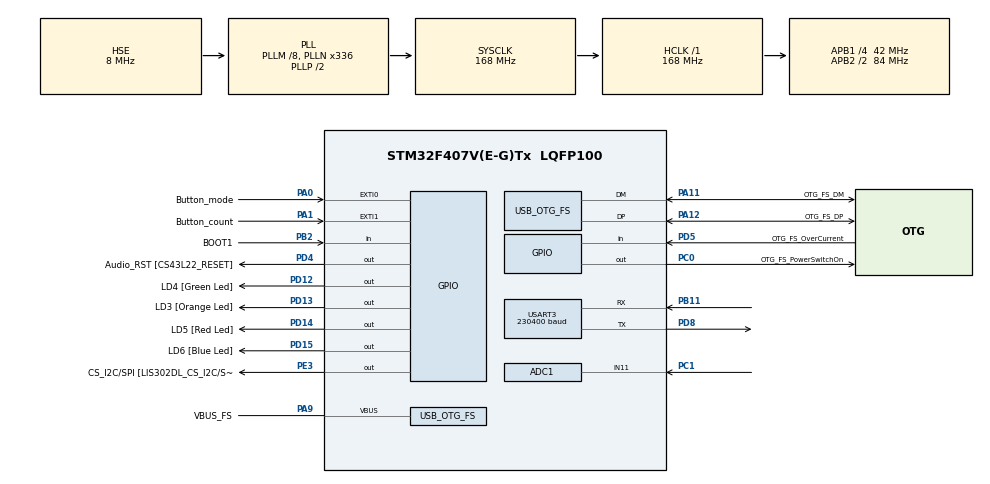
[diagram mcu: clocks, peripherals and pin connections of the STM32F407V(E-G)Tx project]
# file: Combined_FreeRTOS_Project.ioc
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ADC1.Channel-3\#ChannelRegularConversion=ADC_CHANNEL_11
ADC1.NbrOfConversionFlag=1
ADC1.Rank-3\#ChannelRegularConversion=1
ADC1.SamplingTime-3\#ChannelRegularConversion=ADC_SAMPLETIME_3CYCLES
ADC1.master=1
FREERTOS.Mutexes01=countMutex,Dynamic,NULL,Available;modeMutex,Dynamic,NULL,Available
FREERTOS.Queues01=UART_Queue,100,uint8_t,0,Dynamic,NULL,NULL
FREERTOS.Tasks01=defaultTask,24,128,StartDefaultTask,Default,NULL,Dynamic,NULL,NULL;ADC_Task,24,128,Task_4_ADC,Default,NULL,Dynamic,NULL,NULL;Task_5_Button,24,128,Task_5_Button_func,Default,NULL,Dynamic,NULL,NULL
FREERTOS.configUSE_NEWLIB_REENTRANT=1
Mcu.Family=STM32F4
Mcu.Name=STM32F407V(E-G)Tx
Mcu.Package=LQFP100
NVIC.EXTI0_IRQn=true\:5\:0\:true\:false\:true\:true\:true\:true\:true
NVIC.EXTI1_IRQn=true\:5\:0\:true\:false\:true\:true\:true\:true\:true
NVIC.OTG_FS_IRQn=true\:5\:0\:false\:false\:true\:true\:true\:true\:true
NVIC.PriorityGroup=NVIC_PRIORITYGROUP_4
NVIC.TIM1_UP_TIM10_IRQn=true\:15\:0\:false\:false\:true\:false\:false\:true\:true
NVIC.TimeBase=TIM1_UP_TIM10_IRQn
NVIC.TimeBaseIP=TIM1
NVIC.USART3_IRQn=true\:5\:0\:false\:false\:true\:true\:true\:true\:true
PA0-WKUP.GPIO_Label=Button_mode
PA0-WKUP.GPIO_ModeDefaultEXTI=GPIO_MODE_IT_RISING
PA0-WKUP.GPIO_PuPd=GPIO_PULLDOWN
PA0-WKUP.Signal=GPXTI0
PA1.GPIO_Label=Button_count
PA1.GPIO_PuPd=GPIO_PULLDOWN
PA1.Signal=GPXTI1
PA10.GPIO_Label=OTG_FS_ID
PA10.GPIO_Mode=GPIO_MODE_AF_PP
PA10.GPIO_PuPd=GPIO_NOPULL
PA10.GPIO_Speed=GPIO_SPEED_FREQ_LOW
PA10.Signal=USB_OTG_FS_ID
PA11.GPIO_Label=OTG_FS_DM
PA11.GPIO_Mode=GPIO_MODE_AF_PP
PA11.GPIO_PuPd=GPIO_NOPULL
PA11.GPIO_Speed=GPIO_SPEED_FREQ_LOW
PA11.Mode=Host_Only
PA11.Signal=USB_OTG_FS_DM
PA12.GPIO_Label=OTG_FS_DP
PA12.GPIO_Mode=GPIO_MODE_AF_PP
PA12.GPIO_PuPd=GPIO_NOPULL
PA12.GPIO_Speed=GPIO_SPEED_FREQ_LOW
PA12.Mode=Host_Only
PA12.Signal=USB_OTG_FS_DP
PA13.GPIO_Label=SWDIO
PA13.Mode=Serial_Wire
PA13.Signal=SYS_JTMS-SWDIO
PA14.GPIO_Label=SWCLK
PA14.Mode=Serial_Wire
PA14.Signal=SYS_JTCK-SWCLK
PA4.GPIO_Label=I2S3_WS [CS43L22_LRCK]
PA4.GPIO_Mode=GPIO_MODE_AF_PP
PA4.GPIO_PuPd=GPIO_NOPULL
PA4.GPIO_Speed=GPIO_SPEED_FREQ_LOW
PA4.Signal=I2S3_WS
PA5.GPIO_Label=SPI1_SCK [LIS302DL_SCL/SPC]
PA5.GPIO_Mode=GPIO_MODE_AF_PP
PA5.GPIO_PuPd=GPIO_NOPULL
PA5.GPIO_Speed=GPIO_SPEED_FREQ_LOW
PA5.Signal=SPI1_SCK
PA6.GPIO_Label=SPI1_MISO [LIS302DL_SDO]
PA6.GPIO_Mode=GPIO_MODE_AF_PP
PA6.GPIO_PuPd=GPIO_NOPULL
PA6.GPIO_Speed=GPIO_SPEED_FREQ_LOW
PA6.Signal=SPI1_MISO
PA7.GPIO_Label=SPI1_MOSI [LIS302DL_SDA/SDI/SDO]
PA7.GPIO_Mode=GPIO_MODE_AF_PP
PA7.GPIO_PuPd=GPIO_NOPULL
PA7.GPIO_Speed=GPIO_SPEED_FREQ_LOW
PA7.Signal=SPI1_MOSI
PA9.GPIO_Label=VBUS_FS
PA9.GPIO_Mode=GPIO_MODE_INPUT
PA9.GPIO_PuPd=GPIO_NOPULL
PA9.Mode=Activate_VBUS
PA9.Signal=USB_OTG_FS_VBUS
PB10.GPIO_Label=CLK_IN [MP45DT02_CLK]
PB10.GPIO_Mode=GPIO_MODE_AF_PP
PB10.GPIO_PuPd=GPIO_NOPULL
PB10.GPIO_Speed=GPIO_SPEED_FREQ_LOW
PB10.Signal=I2S2_CK
PB11.Mode=Asynchronous
PB11.Signal=USART3_RX
PB2.GPIO_Label=BOOT1
PB2.GPIO_Mode=GPIO_MODE_INPUT
PB2.GPIO_PuPd=GPIO_NOPULL
PB2.Signal=GPIO_Input
PB3.GPIO_Label=SWO
PB3.Signal=SYS_JTDO-SWO
PB6.GPIO_Label=Audio_SCL [CS43L22_SCL]
PB6.GPIO_Mode=GPIO_MODE_AF_OD
PB6.GPIO_Pu=GPIO_PULLUP
PB6.GPIO_PuPd=GPIO_NOPULL
PB6.GPIO_Speed=GPIO_SPEED_FREQ_LOW
PB6.Signal=I2C1_SCL
PB9.GPIO_Label=Audio_SDA [CS43L22_SDA]
PB9.GPIO_Mode=GPIO_MODE_AF_OD
PB9.GPIO_Pu=GPIO_PULLUP
PB9.GPIO_PuPd=GPIO_NOPULL
PB9.GPIO_Speed=GPIO_SPEED_FREQ_LOW
PB9.Signal=I2C1_SDA
PC0.GPIO_Label=OTG_FS_PowerSwitchOn
PC0.GPIO_PuPd=GPIO_NOPULL
PC0.GPIO_Speed=GPIO_SPEED_FREQ_LOW
PC0.PinState=GPIO_PIN_SET
PC0.Signal=GPIO_Output
PC1.Signal=ADCx_IN11
PC10.GPIO_Label=I2S3_SCK [CS43L22_SCLK]
PC10.GPIO_Mode=GPIO_MODE_AF_PP
PC10.GPIO_PuPd=GPIO_NOPULL
PC10.GPIO_Speed=GPIO_SPEED_FREQ_LOW
PC10.Signal=I2S3_CK
PC12.GPIO_Label=I2S3_SD [CS43L22_SDIN]
PC12.GPIO_Mode=GPIO_MODE_AF_PP
PC12.GPIO_PuPd=GPIO_NOPULL
PC12.GPIO_Speed=GPIO_SPEED_FREQ_LOW
PC12.Signal=I2S3_SD
PC14-OSC32_IN.GPIO_Label=PC14-OSC32_IN
PC14-OSC32_IN.Mode=LSE-External-Oscillator
PC14-OSC32_IN.Signal=RCC_OSC32_IN
PC15-OSC32_OUT.GPIO_Label=PC15-OSC32_OUT
PC15-OSC32_OUT.Mode=LSE-External-Oscillator
PC15-OSC32_OUT.Signal=RCC_OSC32_OUT
PC3.GPIO_Label=PDM_OUT [MP45DT02_DOUT]
PC3.GPIO_Mode=GPIO_MODE_AF_PP
PC3.GPIO_PuPd=GPIO_NOPULL
PC3.GPIO_Speed=GPIO_SPEED_FREQ_LOW
PC3.Signal=I2S2_SD
PC7.GPIO_Label=I2S3_MCK [CS43L22_MCLK]
PC7.GPIO_Mode=GPIO_MODE_AF_PP
PC7.GPIO_PuPd=GPIO_NOPULL
PC7.GPIO_Speed=GPIO_SPEED_FREQ_LOW
PC7.Signal=I2S3_MCK
PD12.GPIO_Label=LD4 [Green Led]
PD12.GPIO_PuPd=GPIO_NOPULL
PD12.GPIO_Speed=GPIO_SPEED_FREQ_LOW
PD12.Signal=GPIO_Output
PD13.GPIO_Label=LD3 [Orange Led]
PD13.GPIO_PuPd=GPIO_NOPULL
PD13.GPIO_Speed=GPIO_SPEED_FREQ_LOW
PD13.Signal=GPIO_Output
PD14.GPIO_Label=LD5 [Red Led]
PD14.GPIO_PuPd=GPIO_NOPULL
PD14.GPIO_Speed=GPIO_SPEED_FREQ_LOW
PD14.Signal=GPIO_Output
PD15.GPIO_Label=LD6 [Blue Led]
PD15.GPIO_PuPd=GPIO_NOPULL
PD15.GPIO_Speed=GPIO_SPEED_FREQ_LOW
PD15.Signal=GPIO_Output
PD4.GPIO_Label=Audio_RST [CS43L22_RESET]
PD4.GPIO_PuPd=GPIO_NOPULL
PD4.GPIO_Speed=GPIO_SPEED_FREQ_LOW
PD4.Signal=GPIO_Output
PD5.GPIO_Label=OTG_FS_OverCurrent
PD5.GPIO_Mode=GPIO_MODE_INPUT
PD5.GPIO_PuPd=GPIO_NOPULL
PD5.Signal=GPIO_Input
PD8.Mode=Asynchronous
PD8.Signal=USART3_TX
PE3.GPIO_Label=CS_I2C/SPI [LIS302DL_CS_I2C/SPI]
PE3.GPIO_PuPd=GPIO_NOPULL
PE3.GPIO_Speed=GPIO_SPEED_FREQ_LOW
PE3.Signal=GPIO_Output
PH0-OSC_IN.GPIO_Label=PH0-OSC_IN
PH0-OSC_IN.Mode=HSE-External-Oscillator
PH0-OSC_IN.Signal=RCC_OSC_IN
PH1-OSC_OUT.GPIO_Label=PH1-OSC_OUT
PH1-OSC_OUT.Mode=HSE-External-Oscillator
PH1-OSC_OUT.Signal=RCC_OSC_OUT
ProjectManager.HeapSize=0x200
ProjectManager.StackSize=0x400
ProjectManager.TargetToolchain=STM32CubeIDE
RCC.48MHZClocksFreq_Value=48000000
RCC.AHBFreq_Value=168000000
RCC.APB1CLKDivider=RCC_HCLK_DIV4
RCC.APB1Freq_Value=42000000
RCC.APB1TimFreq_Value=84000000
RCC.APB2CLKDivider=RCC_HCLK_DIV2
RCC.APB2Freq_Value=84000000
RCC.APB2TimFreq_Value=168000000
RCC.CortexFreq_Value=168000000
RCC.HCLKFreq_Value=168000000
RCC.HSE_VALUE=8000000
RCC.HSI_VALUE=16000000
RCC.PLLM=8
RCC.PLLN=336
RCC.PLLQ=7
RCC.SYSCLKFreq_VALUE=168000000
RCC.SYSCLKSource=RCC_SYSCLKSOURCE_PLLCLK
RCC.VCOOutputFreq_Value=336000000
SH.ADCx_IN11.0=ADC1_IN11,IN11
USART3.BaudRate=230400
USART3.Mode=MODE_TX_RX
USART3.Parity=PARITY_NONE
USART3.VirtualMode=VM_ASYNC
USB_HOST.BSP.number=1
USB_HOST.USBH_HandleTypeDef-CDC_FS=hUsbHostFS
USB_HOST.VirtualModeFS=Cdc
USB_HOST0.BSP.STBoard=false
USB_HOST0.BSP.api=Unknown
USB_HOST0.BSP.instance=PC0
USB_HOST0.BSP.ip=GPIO
USB_HOST0.BSP.mode=Output
USB_HOST0.BSP.name=Drive_VBUS_FS
USB_HOST0.BSP.solution=PC0
USB_OTG_FS.VirtualMode=Host_Only
USB_OTG_FS.phy_itface=HCD_PHY_EMBEDDED
VP_FREERTOS_VS_CMSIS_V2.Mode=CMSIS_V2
VP_SYS_VS_tim1.Mode=TIM1
VP_USB_HOST_VS_USB_HOST_CDC_FS.Mode=CDC_FS
board=STM32F407G-DISC1

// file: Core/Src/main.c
/* USER CODE BEGIN Header */
/**
  ******************************************************************************
  * @file           : main.c
  * @brief          : Main program body
  ******************************************************************************
  * @attention
  *
  * Copyright (c) 2025 STMicroelectronics.
  * All rights reserved.
  *
  * This software is licensed under terms that can be found in the LICENSE file
  * in the root directory of this software component.
  * If no LICENSE file comes with this software, it is provided AS-IS.
  *
  ******************************************************************************
  */
/* USER CODE END Header */
#include "main.h"
#include "cmsis_os.h"
#include "usb_host.h"

/* USER CODE BEGIN Includes */
#include <stdlib.h>
#include <string.h>
#include <math.h>
#include <stdint.h>
#include <stdbool.h>
/* USER CODE END Includes */

/* USER CODE BEGIN PTD */
/*
typedef struct {
	uint8_t size;
	uint8_t payload[5];
	uint8_t checksum;
} UART_Message_t;
*/

typedef struct {
	uint8_t size;
	uint8_t instruction;
	uint8_t payload[4];
	uint8_t checksum;
} UART_Message_t;

typedef enum{
	MODE_0,       // Mode = 0
	MODE_1,       // Mode = 1
	MODE_2,       // Mode = 2
	QUERY_COUNT,  // Query for count
	QUERY_MODE,   // Query for mode
	COUNT_X       // Count = X
} UART_Instruction_t;
/* USER CODE END PTD */

/* USER CODE BEGIN PD */
#define DEBOUNCE_MAX_DELAY 1
/* USER CODE END PD */

ADC_HandleTypeDef hadc1;

UART_HandleTypeDef huart3;

/* Definitions for defaultTask */
osThreadId_t defaultTaskHandle;
const osThreadAttr_t defaultTask_attributes = {
  .name = "defaultTask",
  .stack_size = 128 * 4,
  .priority = (osPriority_t) osPriorityNormal,
};
/* Definitions for ADC_Task */
osThreadId_t ADC_TaskHandle;
const osThreadAttr_t ADC_Task_attributes = {
  .name = "ADC_Task",
  .stack_size = 128 * 4,
  .priority = (osPriority_t) osPriorityNormal,
};
/* Definitions for Task_5_Button */
osThreadId_t Task_5_ButtonHandle;
const osThreadAttr_t Task_5_Button_attributes = {
  .name = "Task_5_Button",
  .stack_size = 128 * 4,
  .priority = (osPriority_t) osPriorityNormal,
};
/* Definitions for UART_Queue */
osMessageQueueId_t UART_QueueHandle;
const osMessageQueueAttr_t UART_Queue_attributes = {
  .name = "UART_Queue"
};
/* Definitions for countMutex */
osMutexId_t countMutexHandle;
const osMutexAttr_t countMutex_attributes = {
  .name = "countMutex"
};
/* Definitions for modeMutex */
osMutexId_t modeMutexHandle;
const osMutexAttr_t modeMutex_attributes = {
  .name = "modeMutex"
};
/* USER CODE BEGIN PV */

osThreadId_t ledTaskHandle;
osThreadId_t uartTaskHandle;
osThreadId_t flashTaskHandle;

const FLASH_EraseInitTypeDef flash_conf = {
		.TypeErase = FLASH_TYPEERASE_SECTORS,
		.Sector = FLASH_SECTOR_11,
		.NbSectors = 1,
		.VoltageRange = FLASH_VOLTAGE_RANGE_3
};

const osThreadAttr_t ledTask_attributes = {
  .name = "ledTask",
  .stack_size = 128 * 4,
  .priority = (osPriority_t) osPriorityNormal,
};

const osThreadAttr_t uartTask_attributes = {
  .name = "uartTask",
  .stack_size = 128 * 4,
  .priority = (osPriority_t) osPriorityNormal,
};

const osThreadAttr_t flashTask_attributes = {
  .name = "flashTask",
  .stack_size = 256 * 4,
  .priority = (osPriority_t) osPriorityNormal,
};

const int min_toggle_time = 100;
const int max_toggle_time = 500;
volatile int toggle_interval = 100;
volatile uint8_t button_mode_flag = 0;
volatile uint8_t button_count_flag = 0;
volatile uint32_t button_mode_tick = 0;
volatile uint32_t button_count_tick = 0;

/* USER CODE END PV */

void SystemClock_Config(void);
static void MX_GPIO_Init(void);
static void MX_USART3_UART_Init(void);
static void MX_ADC1_Init(void);
void StartDefaultTask(void *argument);
void Task_4_ADC(void *argument);
void Task_5_Button_func(void *argument);

/* USER CODE BEGIN PFP */
void SystemClock_Config(void);
static void MX_GPIO_Init(void);
static void MX_USART3_UART_Init(void);
void StartDefaultTask(void *argument);
void Task_1_UART(void * arguments);
void Task_2_Flash(void * arguments);
void Task_3_LED(void * arguments);
uint8_t count_nonzero_from_end(const uint8_t *data);
void Button_ISR_func_c(void);
void Button_ISR_func_m(void);
void UART_Send(char *data, uint8_t size);
uint8_t calculate_checksum(const uint8_t *data, size_t length, uint8_t instruction);
/* USER CODE END PFP */

/* USER CODE BEGIN 0 */
static uint8_t rx_byte;
uint8_t tx_bytes[4] = {0};
//uint8_t my_buff[4] = {0,1,2,3};
uint8_t tx_byte = 0;
volatile uint32_t count;
volatile int mode;
const int flash_addr_start = 0x080E0000;
uint32_t adc1_data;
volatile uint8_t debug_count = 1;
volatile uint8_t debug_c, debug_q, debug_checksum;
int debug_queue_output[500] = {0};
int debug_queue_counter = 0;
int debug_queue_counter2 = 0;
int err_count = 0;
/* USER CODE END 0 */

int main(void)
{

  /* MCU Configuration--------------------------------------------------------*/

  /* Reset of all peripherals, Initializes the Flash interface and the Systick. */
  HAL_Init();

  /* Configure the system clock */
  SystemClock_Config();

  /* Initialize all configured peripherals */
  MX_GPIO_Init();
  MX_USART3_UART_Init();
  MX_ADC1_Init();
  /* USER CODE BEGIN 2 */

  //First boot protocol

  //Take count value from flash memory
  volatile int *mode_from_flash = &mode;
  *mode_from_flash = *(uint32_t *)(flash_addr_start + sizeof(uint32_t));

  //Take mode value from flash memory
  volatile int *counter_from_flash = &count;
  *counter_from_flash = *(uint32_t *)flash_addr_start;

  if (count < 0 || count > 0xFFFFFFFF){count = 100;}
  if (mode != 0 && mode != 1 && mode != 2){mode = 0;}

  //Check for zero conditions
  if (count == 0xFFFFFFFF){count = 100;}
  if (mode == 0xFFFFFFFF){mode = 0;}

  HAL_UART_Receive_IT(&huart3, &rx_byte, 1);

  /* USER CODE END 2 */

  /* Init scheduler */
  osKernelInitialize();
  /* Create the mutex(es) */
  /* creation of countMutex */
  countMutexHandle = osMutexNew(&countMutex_attributes);

  /* creation of modeMutex */
  modeMutexHandle = osMutexNew(&modeMutex_attributes);

  /* Create the queue(s) */
  /* creation of UART_Queue */
  UART_QueueHandle = osMessageQueueNew (100, sizeof(uint8_t), &UART_Queue_attributes);

  /* Create the thread(s) */
  /* creation of defaultTask */
  defaultTaskHandle = osThreadNew(StartDefaultTask, NULL, &defaultTask_attributes);

  /* creation of ADC_Task */
  ADC_TaskHandle = osThreadNew(Task_4_ADC, NULL, &ADC_Task_attributes);

  /* creation of Task_5_Button */
  Task_5_ButtonHandle = osThreadNew(Task_5_Button_func, NULL, &Task_5_Button_attributes);

  /* USER CODE BEGIN RTOS_THREADS */
  ledTaskHandle = osThreadNew(Task_3_LED, NULL, &ledTask_attributes);
  flashTaskHandle = osThreadNew(Task_2_Flash, &count, &flashTask_attributes);
  uartTaskHandle = osThreadNew(Task_1_UART, &count, &uartTask_attributes);
  /* USER CODE END RTOS_THREADS */

  /* Start scheduler */
  osKernelStart();

  /* We should never get here as control is now taken by the scheduler */

  /* Infinite loop */
  while (1)
  {

  }
}

void SystemClock_Config(void)
{
  RCC_OscInitTypeDef RCC_OscInitStruct = {0};
  RCC_ClkInitTypeDef RCC_ClkInitStruct = {0};

  /** Configure the main internal regulator output voltage
  */
  __HAL_RCC_PWR_CLK_ENABLE();
  __HAL_PWR_VOLTAGESCALING_CONFIG(PWR_REGULATOR_VOLTAGE_SCALE1);

  /** Initializes the RCC Oscillators according to the specified parameters
  * in the RCC_OscInitTypeDef structure.
  */
  RCC_OscInitStruct.OscillatorType = RCC_OSCILLATORTYPE_HSE;
  RCC_OscInitStruct.HSEState = RCC_HSE_ON;
  RCC_OscInitStruct.PLL.PLLState = RCC_PLL_ON;
  RCC_OscInitStruct.PLL.PLLSource = RCC_PLLSOURCE_HSE;
  RCC_OscInitStruct.PLL.PLLM = 8;
  RCC_OscInitStruct.PLL.PLLN = 336;
  RCC_OscInitStruct.PLL.PLLP = RCC_PLLP_DIV2;
  RCC_OscInitStruct.PLL.PLLQ = 7;
  if (HAL_RCC_OscConfig(&RCC_OscInitStruct) != HAL_OK)
  {
    Error_Handler();
  }

  /** Initializes the CPU, AHB and APB buses clocks
  */
  RCC_ClkInitStruct.ClockType = RCC_CLOCKTYPE_HCLK|RCC_CLOCKTYPE_SYSCLK
                              |RCC_CLOCKTYPE_PCLK1|RCC_CLOCKTYPE_PCLK2;
  RCC_ClkInitStruct.SYSCLKSource = RCC_SYSCLKSOURCE_PLLCLK;
  RCC_ClkInitStruct.AHBCLKDivider = RCC_SYSCLK_DIV1;
  RCC_ClkInitStruct.APB1CLKDivider = RCC_HCLK_DIV4;
  RCC_ClkInitStruct.APB2CLKDivider = RCC_HCLK_DIV2;

  if (HAL_RCC_ClockConfig(&RCC_ClkInitStruct, FLASH_LATENCY_5) != HAL_OK)
  {
    Error_Handler();
  }
}

static void MX_ADC1_Init(void)
{

  ADC_ChannelConfTypeDef sConfig = {0};

  /** Configure the global features of the ADC (Clock, Resolution, Data Alignment and number of conversion)
  */
  hadc1.Instance = ADC1;
  hadc1.Init.ClockPrescaler = ADC_CLOCK_SYNC_PCLK_DIV4;
  hadc1.Init.Resolution = ADC_RESOLUTION_12B;
  hadc1.Init.ScanConvMode = DISABLE;
  hadc1.Init.ContinuousConvMode = DISABLE;
  hadc1.Init.DiscontinuousConvMode = DISABLE;
  hadc1.Init.ExternalTrigConvEdge = ADC_EXTERNALTRIGCONVEDGE_NONE;
  hadc1.Init.ExternalTrigConv = ADC_SOFTWARE_START;
  hadc1.Init.DataAlign = ADC_DATAALIGN_RIGHT;
  hadc1.Init.NbrOfConversion = 1;
  hadc1.Init.DMAContinuousRequests = DISABLE;
  hadc1.Init.EOCSelection = ADC_EOC_SINGLE_CONV;
  if (HAL_ADC_Init(&hadc1) != HAL_OK)
  {
    Error_Handler();
  }

  /** Configure for the selected ADC regular channel its corresponding rank in the sequencer and its sample time.
  */
  sConfig.Channel = ADC_CHANNEL_11;
  sConfig.Rank = 1;
  sConfig.SamplingTime = ADC_SAMPLETIME_3CYCLES;
  if (HAL_ADC_ConfigChannel(&hadc1, &sConfig) != HAL_OK)
  {
    Error_Handler();
  }

}

static void MX_USART3_UART_Init(void)
{

  huart3.Instance = USART3;
  huart3.Init.BaudRate = 230400;
  huart3.Init.WordLength = UART_WORDLENGTH_8B;
  huart3.Init.StopBits = UART_STOPBITS_1;
  huart3.Init.Parity = UART_PARITY_NONE;
  huart3.Init.Mode = UART_MODE_TX_RX;
  huart3.Init.HwFlowCtl = UART_HWCONTROL_NONE;
  huart3.Init.OverSampling = UART_OVERSAMPLING_16;
  if (HAL_UART_Init(&huart3) != HAL_OK)
  {
    Error_Handler();
  }

}

static void MX_GPIO_Init(void)
{
  GPIO_InitTypeDef GPIO_InitStruct = {0};

  /* GPIO Ports Clock Enable */
  __HAL_RCC_GPIOE_CLK_ENABLE();
  __HAL_RCC_GPIOC_CLK_ENABLE();
  __HAL_RCC_GPIOH_CLK_ENABLE();
  __HAL_RCC_GPIOA_CLK_ENABLE();
  __HAL_RCC_GPIOB_CLK_ENABLE();
  __HAL_RCC_GPIOD_CLK_ENABLE();

  /*Configure GPIO pin Output Level */
  HAL_GPIO_WritePin(CS_I2C_SPI_GPIO_Port, CS_I2C_SPI_Pin, GPIO_PIN_RESET);

  /*Configure GPIO pin Output Level */
  HAL_GPIO_WritePin(OTG_FS_PowerSwitchOn_GPIO_Port, OTG_FS_PowerSwitchOn_Pin, GPIO_PIN_SET);

  /*Configure GPIO pin Output Level */
  HAL_GPIO_WritePin(GPIOD, LD4_Pin|LD3_Pin|LD5_Pin|LD6_Pin
                          |Audio_RST_Pin, GPIO_PIN_RESET);

  /*Configure GPIO pin : CS_I2C_SPI_Pin */
  GPIO_InitStruct.Pin = CS_I2C_SPI_Pin;
  GPIO_InitStruct.Mode = GPIO_MODE_OUTPUT_PP;
  GPIO_InitStruct.Pull = GPIO_NOPULL;
  GPIO_InitStruct.Speed = GPIO_SPEED_FREQ_LOW;
  HAL_GPIO_Init(CS_I2C_SPI_GPIO_Port, &GPIO_InitStruct);

  /*Configure GPIO pin : OTG_FS_PowerSwitchOn_Pin */
  GPIO_InitStruct.Pin = OTG_FS_PowerSwitchOn_Pin;
  GPIO_InitStruct.Mode = GPIO_MODE_OUTPUT_PP;
  GPIO_InitStruct.Pull = GPIO_NOPULL;
  GPIO_InitStruct.Speed = GPIO_SPEED_FREQ_LOW;
  HAL_GPIO_Init(OTG_FS_PowerSwitchOn_GPIO_Port, &GPIO_InitStruct);

  /*Configure GPIO pin : PDM_OUT_Pin */
  GPIO_InitStruct.Pin = PDM_OUT_Pin;
  GPIO_InitStruct.Mode = GPIO_MODE_AF_PP;
  GPIO_InitStruct.Pull = GPIO_NOPULL;
  GPIO_InitStruct.Speed = GPIO_SPEED_FREQ_LOW;
  GPIO_InitStruct.Alternate = GPIO_AF5_SPI2;
  HAL_GPIO_Init(PDM_OUT_GPIO_Port, &GPIO_InitStruct);

  /*Configure GPIO pins : Button_mode_Pin Button_count_Pin */
  GPIO_InitStruct.Pin = Button_mode_Pin|Button_count_Pin;
  GPIO_InitStruct.Mode = GPIO_MODE_IT_RISING;
  GPIO_InitStruct.Pull = GPIO_PULLDOWN;
  HAL_GPIO_Init(GPIOA, &GPIO_InitStruct);

  /*Configure GPIO pin : I2S3_WS_Pin */
  GPIO_InitStruct.Pin = I2S3_WS_Pin;
  GPIO_InitStruct.Mode = GPIO_MODE_AF_PP;
  GPIO_InitStruct.Pull = GPIO_NOPULL;
  GPIO_InitStruct.Speed = GPIO_SPEED_FREQ_LOW;
  GPIO_InitStruct.Alternate = GPIO_AF6_SPI3;
  HAL_GPIO_Init(I2S3_WS_GPIO_Port, &GPIO_InitStruct);

  /*Configure GPIO pins : SPI1_SCK_Pin SPI1_MISO_Pin SPI1_MOSI_Pin */
  GPIO_InitStruct.Pin = SPI1_SCK_Pin|SPI1_MISO_Pin|SPI1_MOSI_Pin;
  GPIO_InitStruct.Mode = GPIO_MODE_AF_PP;
  GPIO_InitStruct.Pull = GPIO_NOPULL;
  GPIO_InitStruct.Speed = GPIO_SPEED_FREQ_LOW;
  GPIO_InitStruct.Alternate = GPIO_AF5_SPI1;
  HAL_GPIO_Init(GPIOA, &GPIO_InitStruct);

  /*Configure GPIO pin : BOOT1_Pin */
  GPIO_InitStruct.Pin = BOOT1_Pin;
  GPIO_InitStruct.Mode = GPIO_MODE_INPUT;
  GPIO_InitStruct.Pull = GPIO_NOPULL;
  HAL_GPIO_Init(BOOT1_GPIO_Port, &GPIO_InitStruct);

  /*Configure GPIO pin : CLK_IN_Pin */
  GPIO_InitStruct.Pin = CLK_IN_Pin;
  GPIO_InitStruct.Mode = GPIO_MODE_AF_PP;
  GPIO_InitStruct.Pull = GPIO_NOPULL;
  GPIO_InitStruct.Speed = GPIO_SPEED_FREQ_LOW;
  GPIO_InitStruct.Alternate = GPIO_AF5_SPI2;
  HAL_GPIO_Init(CLK_IN_GPIO_Port, &GPIO_InitStruct);

  /*Configure GPIO pins : LD4_Pin LD3_Pin LD5_Pin LD6_Pin
                           Audio_RST_Pin */
  GPIO_InitStruct.Pin = LD4_Pin|LD3_Pin|LD5_Pin|LD6_Pin
                          |Audio_RST_Pin;
  GPIO_InitStruct.Mode = GPIO_MODE_OUTPUT_PP;
  GPIO_InitStruct.Pull = GPIO_NOPULL;
  GPIO_InitStruct.Speed = GPIO_SPEED_FREQ_LOW;
  HAL_GPIO_Init(GPIOD, &GPIO_InitStruct);

  /*Configure GPIO pins : I2S3_MCK_Pin I2S3_SCK_Pin I2S3_SD_Pin */
  GPIO_InitStruct.Pin = I2S3_MCK_Pin|I2S3_SCK_Pin|I2S3_SD_Pin;
  GPIO_InitStruct.Mode = GPIO_MODE_AF_PP;
  GPIO_InitStruct.Pull = GPIO_NOPULL;
  GPIO_InitStruct.Speed = GPIO_SPEED_FREQ_LOW;
  GPIO_InitStruct.Alternate = GPIO_AF6_SPI3;
  HAL_GPIO_Init(GPIOC, &GPIO_InitStruct);

  /*Configure GPIO pin : OTG_FS_OverCurrent_Pin */
  GPIO_InitStruct.Pin = OTG_FS_OverCurrent_Pin;
  GPIO_InitStruct.Mode = GPIO_MODE_INPUT;
  GPIO_InitStruct.Pull = GPIO_NOPULL;
  HAL_GPIO_Init(OTG_FS_OverCurrent_GPIO_Port, &GPIO_InitStruct);

  /*Configure GPIO pins : Audio_SCL_Pin Audio_SDA_Pin */
  GPIO_InitStruct.Pin = Audio_SCL_Pin|Audio_SDA_Pin;
  GPIO_InitStruct.Mode = GPIO_MODE_AF_OD;
  GPIO_InitStruct.Pull = GPIO_PULLUP;
  GPIO_InitStruct.Speed = GPIO_SPEED_FREQ_LOW;
  GPIO_InitStruct.Alternate = GPIO_AF4_I2C1;
  HAL_GPIO_Init(GPIOB, &GPIO_InitStruct);

  /* EXTI interrupt init*/
  HAL_NVIC_SetPriority(EXTI0_IRQn, 5, 0);
  HAL_NVIC_EnableIRQ(EXTI0_IRQn);

  HAL_NVIC_SetPriority(EXTI1_IRQn, 5, 0);
  HAL_NVIC_EnableIRQ(EXTI1_IRQn);

}

/* USER CODE BEGIN 4 */
/*
void Task_1_UART(void * arguments)
{
	uint8_t check_start_byte = 0;
	uint8_t checksum = 0;
	uint8_t P_payload[4] = {0};
	uint32_t P_count = 0;
	for(;;)
	{
		uint32_t count_placeholder = 0;
		UART_Message_t msg_struct = {0};
		if(HAL_UART_GetState(&huart3) != HAL_UART_STATE_BUSY_TX)
		{
			if(osMessageQueueGet(UART_QueueHandle, &check_start_byte, NULL, 100)==osOK)
			{
				if (check_start_byte == 0xAA)
				{
					if(osMessageQueueGet(UART_QueueHandle, &msg_struct.size, NULL, 10)==osOK)
					{
						for (uint8_t bg = 0; bg < msg_struct.size; bg++)
						{
							osMessageQueueGet(UART_QueueHandle, &msg_struct.payload[bg], NULL, 10);
						}
						osMessageQueueGet(UART_QueueHandle, &msg_struct.checksum, NULL, 10);
						if (msg_struct.checksum == calculate_checksum(&msg_struct.payload, (size_t)msg_struct.size))
						{
							switch (msg_struct.payload[0])
							{
							case MODE_0:

								if(osMutexAcquire(modeMutexHandle, 20)==osOK)
								{
									mode = 0;
									osMutexRelease(modeMutexHandle);
								}
								break;

							case MODE_1:
								if(osMutexAcquire(modeMutexHandle, 20)==osOK)
								{
									mode = 1;
									osMutexRelease(modeMutexHandle);
								}
								break;

							case MODE_2:
								if(osMutexAcquire(modeMutexHandle, 20)==osOK)
								{
									mode = 2;
									osMutexRelease(modeMutexHandle);
								}
								break;

							case QUERY_COUNT:
								if(osMutexAcquire(countMutexHandle, 100)==osOK)
								{
									uint8_t count_bytes[4];
									count_bytes[0] = (count >> 24) & 0xFF;
									count_bytes[1] = (count >> 16) & 0xFF;
									count_bytes[2] = (count >> 8) & 0xFF;
									count_bytes[3] = count & 0xFF;
									osDelay(30);
									HAL_UART_Transmit_IT(&huart3, count_bytes, 4);
									osMutexRelease(countMutexHandle);
								}
								break;

							case QUERY_MODE:
								if(osMutexAcquire(modeMutexHandle, 100)==osOK)
								{
									uint8_t mode_placeholder = (uint8_t) mode;
									osDelay(30);
									HAL_UART_Transmit_IT(&huart3, &mode_placeholder, 1);
									osMutexRelease(modeMutexHandle);
								}
								break;

							case COUNT_X:
								P_count = 0;
								for (uint8_t k = 1; k < 5; k++)
								{
									P_count += ((msg_struct.payload[k])*pow(16, 2*(4-k)));
								}
								if(osMutexAcquire(countMutexHandle, 30)==osOK)
								{
									count = P_count;
									osMutexRelease(countMutexHandle);
								}
								break;
							default:
								break;
							}
						}
					}
				}
			}
		}
		osDelay(2);
	}
}
*/

void Task_1_UART(void * arguments)
{
	bool F_start = 0;
	bool F_size = 0;
	bool F_instruction = 0;
	bool F_payload = 0;
	bool F_checksum = 0;
	uint8_t Q_get = 0;
	UART_Message_t msg = {0};
	uint8_t counting_var = 0;

	for(;;)
	{	Q_get = 0;
		if(HAL_UART_GetState(&huart3) != HAL_UART_STATE_BUSY_TX){
			if(osMessageQueueGet(UART_QueueHandle, &Q_get, NULL, 30)==osOK) //Get byte from queue and put into Q_get
			{	//Checking start byte = 0xAA, F_start set if so
				if(F_start)
				{	//Checking accurate size byte = 1 or 5, F_size set if so
					if(F_size)
					{
						if(F_instruction)
						{
							if(msg.size == 1)
							{
								F_payload = true;
							}
							counting_var ++;
							if(counting_var == msg.size)
							{
								F_payload = true;
							}
							if(F_payload)
							{
								counting_var = 0;
								if(Q_get == calculate_checksum(&msg.payload[0], msg.size, msg.instruction))
								{
									switch (msg.instruction)
									{
									case MODE_0:

										if(osMutexAcquire(modeMutexHandle, 20)==osOK)
										{
											mode = 0;
											osMutexRelease(modeMutexHandle);
										}
										break;

									case MODE_1:
										if(osMutexAcquire(modeMutexHandle, 20)==osOK)
										{
											mode = 1;
											osMutexRelease(modeMutexHandle);
										}
										break;

									case MODE_2:
										if(osMutexAcquire(modeMutexHandle, 20)==osOK)
										{
											mode = 2;
											osMutexRelease(modeMutexHandle);
										}
										break;

									case QUERY_COUNT:
										if(osMutexAcquire(countMutexHandle, 100)==osOK)
										{
											uint8_t count_bytes[4];
											count_bytes[0] = (count >> 24) & 0xFF;
											count_bytes[1] = (count >> 16) & 0xFF;
											count_bytes[2] = (count >> 8) & 0xFF;
											count_bytes[3] = count & 0xFF;
											osDelay(30);
											HAL_UART_Transmit_IT(&huart3, count_bytes, 4);
											osMutexRelease(countMutexHandle);
										}
										break;

									case QUERY_MODE:
										if(osMutexAcquire(modeMutexHandle, 100)==osOK)
										{
											uint8_t mode_placeholder = (uint8_t) mode;
											osDelay(30);
											HAL_UART_Transmit_IT(&huart3, &mode_placeholder, 1);
											osMutexRelease(modeMutexHandle);
										}
										break;

									case COUNT_X:
										uint32_t P_count = 0;
										for (uint8_t k = 0; k < 4; k++)
										{
											P_count += ((msg.payload[k])*pow(16, 2*(3-k)));
										}
										if(osMutexAcquire(countMutexHandle, 30)==osOK)
										{
											count = P_count;
											osMutexRelease(countMutexHandle);
										}
										break;
									default:
										break;
									}
								}
								else //Checksum failed, reset initialization and send "checksum failed"
								{
									char fail[16] = "Checksum Failed";
									osDelay(30);
									HAL_UART_Transmit_IT(&huart3, &fail, strlen(fail));
								}
								F_checksum = false;
								F_instruction = false;
								F_payload = false;
								F_size = false;
								F_start = false;
								memset(&msg, 0, sizeof(msg));
							}
							else
							{
								msg.payload[counting_var - 1] = Q_get;
							}
						}
						else if(Q_get < COUNT_X || Q_get >= MODE_0)
						{
							msg.instruction = Q_get;
							F_instruction = true;
						}
						else
						{
							F_start = false;
							F_size = false;
							memset(&msg, 0, sizeof(msg));
						}
					}
					else if(Q_get == 1 || Q_get == 5)
					{
						msg.size = Q_get;
						F_size = true;
					}
					else
					{
						F_start = false;
						memset(&msg, 0, sizeof(msg));
					}
				}
				else if(Q_get == 0xAA)
				{
					F_start = true;
				}
			}
			else
			{
				F_checksum = false;
				F_instruction = false;
				F_payload = false;
				F_size = false;
				F_start = false;
				memset(&msg, 0, sizeof(msg));
			}
		}
		osDelay(2);
	}
}

void Task_2_Flash(void * arguments)
{
    static int last_mode = -1;
    static int last_count = -1;
    int current_mode, current_count;
    int sector_err = 0;

    for(;;)
    {
        if(osMutexAcquire(modeMutexHandle, osWaitForever) == osOK)
        {
            if(osMutexAcquire(countMutexHandle, osWaitForever) == osOK)
            {
                current_mode = mode;
                current_count = count;
                HAL_GPIO_WritePin(LD3_GPIO_Port, LD3_Pin, GPIO_PIN_SET);
                if(current_mode != last_mode || current_count != last_count)
                {
                    HAL_FLASH_Unlock();
                    HAL_FLASHEx_Erase(&flash_conf, &sector_err);
                    HAL_FLASH_Program(FLASH_TYPEPROGRAM_WORD, flash_addr_start, (uint32_t)current_count);
                    HAL_FLASH_Program(FLASH_TYPEPROGRAM_WORD, (flash_addr_start + sizeof(uint32_t)), (uint32_t)current_mode);
                    HAL_FLASH_Lock();

                    last_mode = current_mode;
                    last_count = current_count;
                }

                osMutexRelease(countMutexHandle);
            }

            osMutexRelease(modeMutexHandle);
        }
        HAL_GPIO_WritePin(LD3_GPIO_Port, LD3_Pin, GPIO_PIN_RESET);
        osDelay(10000);
    }
}

void Task_3_LED(void * arguments)
{
	uint32_t count1 = 100;

	for(;;)
	{
			if (mode == 0)
			{
				HAL_GPIO_WritePin(LD4_GPIO_Port, LD4_Pin, GPIO_PIN_SET);
			}
			else if (mode == 1) {
				HAL_GPIO_WritePin(LD4_GPIO_Port, LD4_Pin, GPIO_PIN_RESET);
			}
			else
			{	{
					count1 = count;
					if (count1<100){count1 = 100;}
					if (count1>5000){count1 = 5000;}
					osDelay(count1);
					HAL_GPIO_TogglePin(LD4_GPIO_Port, LD4_Pin);
				}
			}
		}
	}

void HAL_UART_RxCpltCallback(UART_HandleTypeDef *huart) {
    if (huart == &huart3) {

        if (osMessageQueueGetSpace(UART_QueueHandle) > 0) {
        	osMessageQueuePut(UART_QueueHandle, &rx_byte, 0U, 0);
        }
        HAL_UART_Receive_IT(huart, &rx_byte, 1);

    }
}

void HAL_UART_TxCpltCallback(UART_HandleTypeDef *huart) {
	osDelay(5);
}

uint8_t count_nonzero_from_end(const uint8_t *data) {
    uint8_t count = 0;
    for (int i = 3; i >= 0; i--) {
        if (data[i] != 0) {
            count++;
        } else {
            break;
        }
    }
    return count;
}

void Button_ISR_func_c(void)
{
	osMutexAcquire(countMutexHandle, osWaitForever);
	if (count <= 0xFFFFFFFF)
		  {
			  count += 300;
		  }
		  else
		  {
			count = 100;
		  }
	osMutexRelease(countMutexHandle);
}

void Button_ISR_func_m(void)
{
	osMutexAcquire(modeMutexHandle, osWaitForever);
	mode++;
	if (mode == 3){mode = 0;};
	if (mode < 0 || mode > 3){mode = 0;};
	osMutexRelease(modeMutexHandle);
}

uint8_t calculate_checksum(const uint8_t *data, size_t length, uint8_t instruction) {
    uint8_t checksum = 0;
    for(size_t i = 0; i < length; i++) {
        checksum ^= data[i];
    }
    checksum ^= (uint8_t)length ^ instruction;
    return checksum;
}

void UART_Send(char *data, uint8_t size)
{
	HAL_UART_Transmit_IT(&huart3, data, size);
}

uint32_t map(uint32_t adc_unconverted)
{
	return (uint8_t)(((adc_unconverted)*(5))/(4089));
}
/* USER CODE END 4 */

void StartDefaultTask(void *argument)
{
  /* init code for USB_HOST */
  MX_USB_HOST_Init();
  for(;;)
  {
    osDelay(1);
  }
}

void Task_4_ADC(void *argument)
{
  /* USER CODE BEGIN Task_4_ADC */
  uint32_t adc1_data = 0;
  uint8_t adc1_data_converted = 2;
  uint8_t flag_adc = 5;
  /* Infinite loop */
  for(;;)
  {
    // Start ADC conversion
    HAL_ADC_Start(&hadc1);

    // Wait for conversion to complete
    if(HAL_ADC_PollForConversion(&hadc1, 100) == HAL_OK)
    {	if(flag_adc >0){flag_adc --;}
        adc1_data = HAL_ADC_GetValue(&hadc1);
        adc1_data_converted = map(adc1_data);
        if(flag_adc==0){
			if(osMutexAcquire(countMutexHandle, 10)==osOK)
			{
				if(adc1_data_converted<2 && count >= 100){count -= count/10; if(count < 100){count = 100;}}
				else if(adc1_data_converted>2 && count <= 5000){count += count/10; if(count > 5000){count = 5000;}}

				osMutexRelease(countMutexHandle);
			}
        }
    }

    // Stop ADC to ensure clean restart next time
    HAL_ADC_Stop(&hadc1);

    // Add a reasonable delay
    osDelay(200);
  }
  /* USER CODE END Task_4_ADC */
}

void Task_5_Button_func(void *argument)
{
  /* USER CODE BEGIN Task_5_Button_func */
  /* Infinite loop */
  for(;;)
  {
	  if (button_count_flag)
	  			{	// __disable_irq();
	  				button_count_flag = 0;
	  				if(HAL_GPIO_ReadPin(Button_count_GPIO_Port, Button_count_Pin) == GPIO_PIN_SET)
	  				{	while(HAL_GPIO_ReadPin(Button_count_GPIO_Port, Button_count_Pin) == GPIO_PIN_SET){}
	  					if((HAL_GetTick() - button_count_tick) > DEBOUNCE_MAX_DELAY)
	  					{
	  						Button_ISR_func_c();

	  					}
	  				}
	  				//__enable_irq();
	  			}
	  			if (button_mode_flag)
	  			{	 //__disable_irq();
	  				button_mode_flag = 0;
	  				if(HAL_GPIO_ReadPin(Button_mode_GPIO_Port, Button_mode_Pin) == GPIO_PIN_SET)
	  				{	while(HAL_GPIO_ReadPin(Button_mode_GPIO_Port, Button_mode_Pin) == GPIO_PIN_SET){}
	  					if((HAL_GetTick() - button_mode_tick) > DEBOUNCE_MAX_DELAY)
	  					{
	  						Button_ISR_func_m();
	  					}
	  				}
	  				//__enable_irq();
	  			}

    osDelay(1);
  }
  /* USER CODE END Task_5_Button_func */
}

void HAL_TIM_PeriodElapsedCallback(TIM_HandleTypeDef *htim)
{
  if (htim->Instance == TIM1)
  {
    HAL_IncTick();
  }
}

void Error_Handler(void)
{
  __disable_irq();
  while (1)
  {
  }
}
